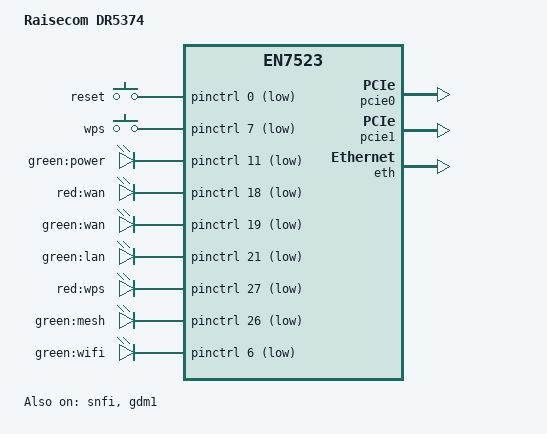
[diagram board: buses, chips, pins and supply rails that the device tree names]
// SPDX-License-Identifier: (GPL-2.0-only OR BSD-2-Clause)
/dts-v1/;

#include <dt-bindings/input/linux-event-codes.h>
#include <dt-bindings/leds/common.h>
#include "en7523.dtsi"

/ {
	model = "Raisecom DR5374";
	compatible = "raisecom,dr5374", "airoha,en7523";

	aliases {
		serial0 = &uart1;
	};

	chosen {
		bootargs = "console=ttyS0,115200 earlycon";
		stdout-path = "serial0:115200n8";
		linux,usable-memory-range = <0x80200000 0x1fe00000>;
	};

	keys {
		compatible = "gpio-keys";

		reset {
			label = "reset";
			linux,code = <KEY_RESTART>;
			gpios = <&pinctrl 0 GPIO_ACTIVE_LOW>;
			debounce-interval = <60>;
		};

		wps {
			label = "wps";
			linux,code = <KEY_WPS_BUTTON>;
			gpios = <&pinctrl 7 GPIO_ACTIVE_LOW>;
			debounce-interval = <60>;
		};
	};

	leds {
		compatible = "gpio-leds";

		led-0 {
			label = "green:power";
			gpios = <&pinctrl 11 GPIO_ACTIVE_LOW>;
		};

		led-1 {
			label = "red:wan";
			gpios = <&pinctrl 18 GPIO_ACTIVE_LOW>;
		};

		led-2 {
			label = "green:wan";
			gpios = <&pinctrl 19 GPIO_ACTIVE_LOW>;
		};

		led-3 {
			label = "green:lan";
			gpios = <&pinctrl 21 GPIO_ACTIVE_LOW>;
		};

		led-4 {
			label = "red:wps";
			gpios = <&pinctrl 27 GPIO_ACTIVE_LOW>;
		};

		led-5 {
			label = "green:mesh";
			gpios = <&pinctrl 26 GPIO_ACTIVE_LOW>;
		};

		led-6 {
			label = "green:wifi";
			gpios = <&pinctrl 6 GPIO_ACTIVE_LOW>;
		};
	};
};

&pcie0 {
	status = "okay";
};

&pcie1 {
	status = "okay";
};

&snfi {
	status = "okay";
};

&eth {
	status = "okay";
};

&gdm1 {
	status = "okay";
};

&spi_nand {
	partitions {
		compatible = "fixed-partitions";
		#address-cells = <1>;
		#size-cells = <1>;

		partition@0 {
			label = "u-boot";
			reg = <0x000000 0x080000>;
		};

		partition@80000 {
			label = "ubi";
			compatible = "linux,ubi";
			reg = <0x080000 0x000000>;
		};
	};
};
